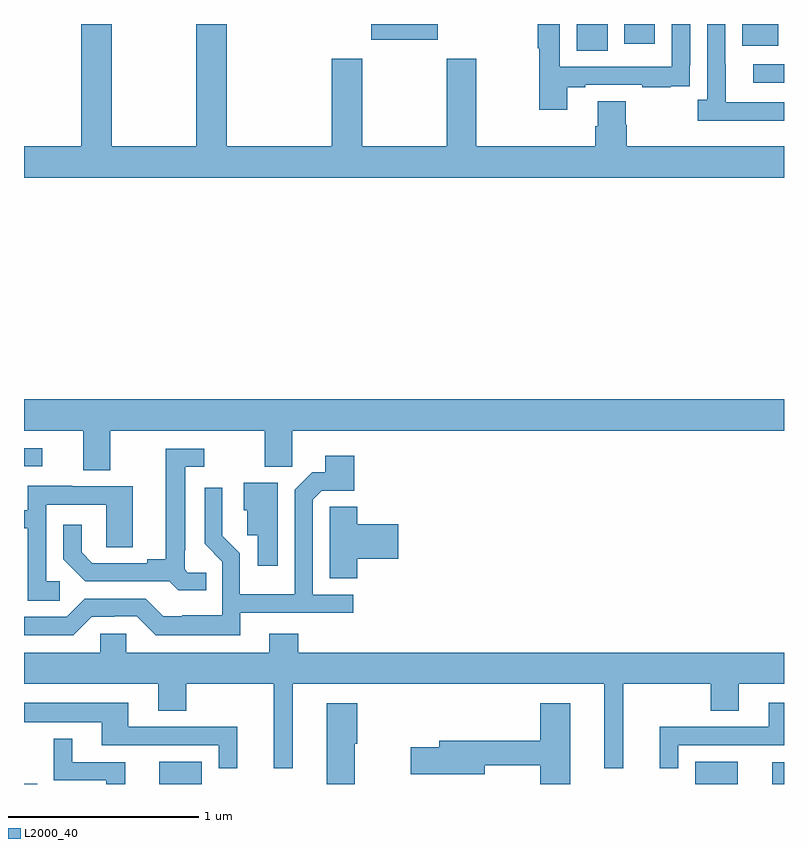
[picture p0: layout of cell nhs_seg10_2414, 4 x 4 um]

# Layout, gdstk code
import gdstk
lib = gdstk.Library(unit=1e-6, precision=1e-09)
def R(c, l, rs):  # rectangles x0, y0, x1, y1
    for r in rs: c.add(gdstk.rectangle(r[:2], r[2:], *l))
def P(c, l, *ps):  # polygons
    for p in ps: c.add(gdstk.Polygon(p, *l))
L2000_40 = (2000, 40)

nhs_seg10_2414 = lib.new_cell('nhs_seg10_2414')
R(nhs_seg10_2414, L2000_40, [(241,1254.5,241.069,1254.502), (241.712,1254.5,241.936,1254.616), (244.532,1254.5,244.756,1254.616), (244.937,1254.5,245,1254.615), (241,1256.172,241.096,1256.268), (244.839,1258.191,245,1258.287), (243.908,1258.36,244.072,1258.5), (244.781,1258.385,244.969,1258.5), (244.16,1258.395,244.321,1258.5), (242.828,1258.418,243.178,1258.5)])
P(nhs_seg10_2414, L2000_40, [(245,1257.856),(244.172,1257.856),(244.172,1257.969),(244.167,1257.969),(244.167,1258.094),(244.019,1258.094),(244.019,1257.962),(244.007,1257.962),(244.007,1257.856),(243.381,1257.856),(243.381,1258.318),(243.226,1258.318),(243.226,1257.856),(242.781,1257.856),(242.781,1258.318),(242.621,1258.318),(242.621,1257.856),(242.066,1257.856),(242.066,1258.5),(241.906,1258.5),(241.906,1257.856),(241.461,1257.856),(241.461,1258.5),(241.301,1258.5),(241.301,1257.856),(241,1257.856),(241,1257.692),(245,1257.692)],
  [(245,1258.089),(244.693,1258.089),(244.693,1258.289),(244.692,1258.289),(244.692,1258.5),(244.596,1258.5),(244.596,1258.102),(244.545,1258.102),(244.545,1257.992),(245,1257.992)],
  [(243.859,1258.167),(243.955,1258.167),(243.955,1258.179),(244.255,1258.179),(244.255,1258.167),(244.403,1258.167),(244.403,1258.173),(244.505,1258.173),(244.505,1258.282),(244.506,1258.282),(244.506,1258.5),(244.41,1258.5),(244.41,1258.275),(243.819,1258.275),(243.819,1258.5),(243.703,1258.5),(243.703,1258.372),(243.711,1258.372),(243.711,1258.05),(243.859,1258.05)],
  [(241.453,1256.36),(242.266,1256.36),(242.266,1256.171),(242.412,1256.171),(242.412,1256.36),(245,1256.36),(245,1256.524),(241,1256.524),(241,1256.36),(241.313,1256.36),(241.313,1256.152),(241.453,1256.152)],
  [(241.958,1255.611),(241.863,1255.611),(241.845,1255.629),(241.845,1255.729),(241.849,1255.729),(241.849,1256.169),(241.948,1256.169),(241.948,1256.265),(241.745,1256.265),(241.745,1255.682),(241.649,1255.682),(241.649,1255.662),(241.36,1255.662),(241.303,1255.719),(241.303,1255.864),(241.206,1255.864),(241.206,1255.682),(241.322,1255.566),(241.764,1255.566),(241.812,1255.519),(241.958,1255.519)],
  [(242.137,1255.401),(242.734,1255.401),(242.734,1255.497),(242.52,1255.497),(242.52,1255.995),(242.568,1256.043),(242.738,1256.043),(242.738,1256.227),(242.585,1256.227),(242.585,1256.142),(242.517,1256.142),(242.424,1256.049),(242.424,1255.498),(242.136,1255.498),(242.136,1255.714),(242.044,1255.806),(242.044,1256.059),(241.95,1256.059),(241.95,1255.764),(242.043,1255.671),(242.043,1255.387),(241.834,1255.387),(241.834,1255.383),(241.734,1255.383),(241.641,1255.476),(241.32,1255.476),(241.224,1255.38),(241,1255.38),(241,1255.284),(241.26,1255.284),(241.356,1255.38),(241.476,1255.38),(241.476,1255.383),(241.593,1255.383),(241.693,1255.283),(242.137,1255.283)],
  [(242.335,1256.086),(242.156,1256.086),(242.156,1255.941),(242.175,1255.941),(242.175,1255.809),(242.231,1255.809),(242.231,1255.65),(242.335,1255.65)],
  [(241.189,1255.566),(241.116,1255.566),(241.116,1255.971),(241.434,1255.971),(241.434,1255.747),(241.573,1255.747),(241.573,1256.067),(241.255,1256.067),(241.255,1256.071),(241.019,1256.071),(241.019,1255.942),(241,1255.942),(241,1255.845),(241.02,1255.845),(241.02,1255.465),(241.189,1255.465)],
  [(242.753,1255.685),(242.971,1255.685),(242.971,1255.868),(242.753,1255.868),(242.753,1255.958),(242.61,1255.958),(242.61,1255.85),(242.609,1255.85),(242.609,1255.582),(242.753,1255.582)],
  [(242.414,1255.028),(244.055,1255.028),(244.055,1254.582),(244.154,1254.582),(244.154,1255.028),(244.615,1255.028),(244.615,1254.886),(244.762,1254.886),(244.762,1255.028),(245,1255.028),(245,1255.192),(242.444,1255.192),(242.444,1255.291),(242.291,1255.291),(242.291,1255.192),(241.539,1255.192),(241.539,1255.29),(241.401,1255.29),(241.401,1255.192),(241,1255.192),(241,1255.028),(241.706,1255.028),(241.706,1254.886),(241.854,1254.886),(241.854,1255.028),(242.315,1255.028),(242.315,1254.582),(242.414,1254.582)],
  [(242.123,1254.801),(241.549,1254.801),(241.549,1254.928),(241,1254.928),(241,1254.824),(241.409,1254.824),(241.409,1254.705),(242.025,1254.705),(242.025,1254.582),(242.123,1254.582)],
  [(244.443,1254.705),(245,1254.705),(245,1254.928),(244.919,1254.928),(244.919,1254.801),(244.346,1254.801),(244.346,1254.582),(244.443,1254.582)],
  [(242.74,1254.712),(242.753,1254.712),(242.753,1254.925),(242.594,1254.925),(242.594,1254.5),(242.74,1254.5)],
  [(243.874,1254.925),(243.716,1254.925),(243.716,1254.727),(243.185,1254.727),(243.185,1254.693),(243.036,1254.693),(243.036,1254.551),(243.424,1254.551),(243.424,1254.598),(243.716,1254.598),(243.716,1254.5),(243.874,1254.5)],
  [(241.532,1254.615),(241.255,1254.615),(241.255,1254.739),(241.157,1254.739),(241.157,1254.519),(241.434,1254.519),(241.434,1254.5),(241.532,1254.5)])

lib.write_gds('nhs_seg10_2414.gds')
